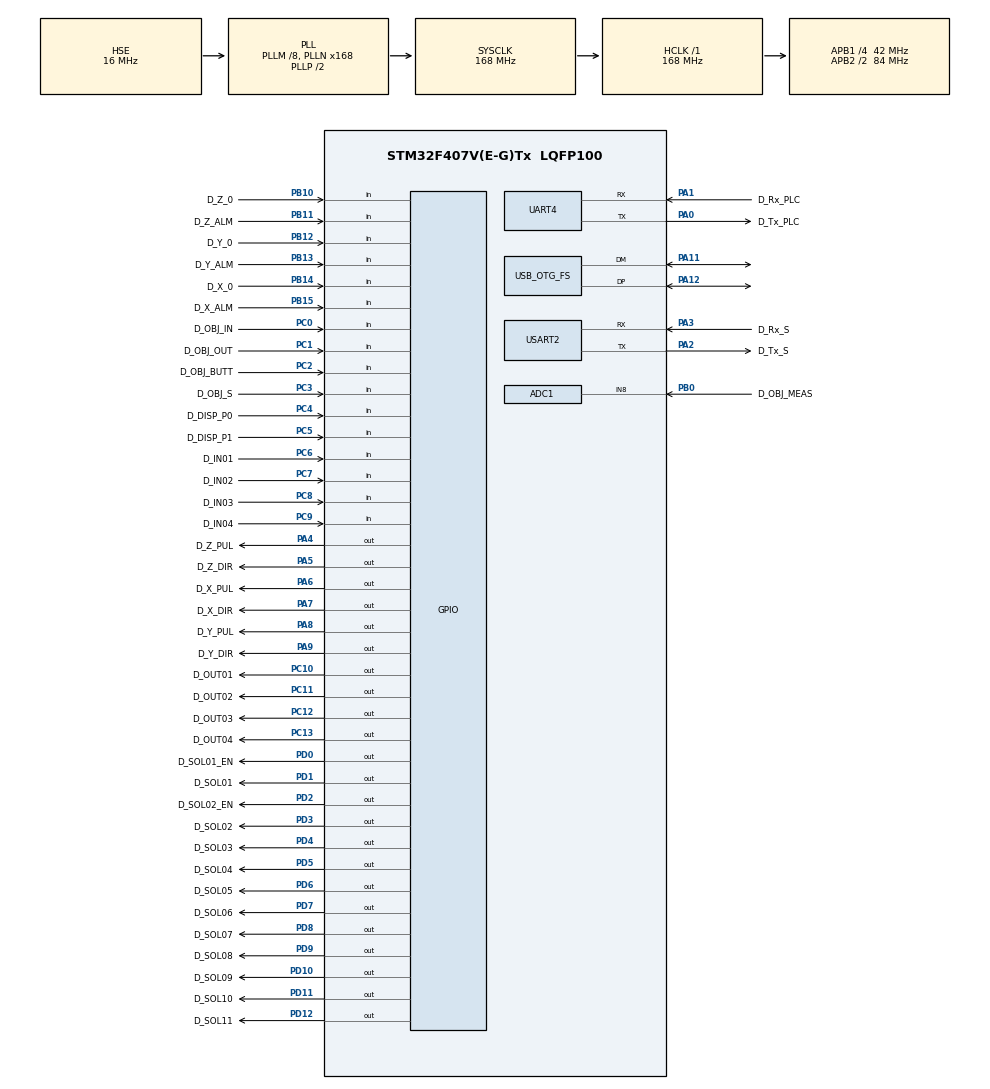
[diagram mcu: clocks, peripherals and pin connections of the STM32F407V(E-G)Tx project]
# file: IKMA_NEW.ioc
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ADC1.Channel-0\#ChannelRegularConversion=ADC_CHANNEL_8
ADC1.ClockPrescaler=ADC_CLOCK_SYNC_PCLK_DIV4
ADC1.NbrOfConversionFlag=1
ADC1.Rank-0\#ChannelRegularConversion=1
ADC1.SamplingTime-0\#ChannelRegularConversion=ADC_SAMPLETIME_3CYCLES
ADC1.master=1
Mcu.Family=STM32F4
Mcu.Name=STM32F407V(E-G)Tx
Mcu.Package=LQFP100
NVIC.OTG_FS_IRQn=true\:0\:0\:false\:false\:true\:false\:true
NVIC.PriorityGroup=NVIC_PRIORITYGROUP_4
NVIC.UART4_IRQn=true\:0\:0\:false\:false\:true\:true\:true
NVIC.USART2_IRQn=true\:0\:0\:false\:false\:true\:true\:true
PA0-WKUP.GPIO_Label=D_Tx_PLC
PA0-WKUP.Mode=Asynchronous
PA0-WKUP.Signal=UART4_TX
PA1.GPIO_Label=D_Rx_PLC
PA1.Mode=Asynchronous
PA1.Signal=UART4_RX
PA11.Mode=Device_Only
PA11.Signal=USB_OTG_FS_DM
PA12.Mode=Device_Only
PA12.Signal=USB_OTG_FS_DP
PA13.Mode=Serial_Wire
PA13.Signal=SYS_JTMS-SWDIO
PA14.Mode=Serial_Wire
PA14.Signal=SYS_JTCK-SWCLK
PA2.GPIO_Label=D_Tx_S
PA2.Mode=Asynchronous
PA2.Signal=USART2_TX
PA3.GPIO_Label=D_Rx_S
PA3.Mode=Asynchronous
PA3.Signal=USART2_RX
PA4.GPIO_Label=D_Z_PUL
PA4.Signal=GPIO_Output
PA5.GPIO_Label=D_Z_DIR
PA5.Signal=GPIO_Output
PA6.GPIO_Label=D_X_PUL
PA6.Signal=GPIO_Output
PA7.GPIO_Label=D_X_DIR
PA7.Signal=GPIO_Output
PA8.GPIO_Label=D_Y_PUL
PA8.Signal=GPIO_Output
PA9.GPIO_Label=D_Y_DIR
PA9.Signal=GPIO_Output
PB0.GPIO_Label=D_OBJ_MEAS
PB0.Signal=ADCx_IN8
PB10.GPIO_Label=D_Z_0
PB10.Signal=GPIO_Input
PB11.GPIO_Label=D_Z_ALM
PB11.Signal=GPIO_Input
PB12.GPIO_Label=D_Y_0
PB12.Signal=GPIO_Input
PB13.GPIO_Label=D_Y_ALM
PB13.Signal=GPIO_Input
PB14.GPIO_Label=D_X_0
PB14.Signal=GPIO_Input
PB15.GPIO_Label=D_X_ALM
PB15.Signal=GPIO_Input
PC0.GPIO_Label=D_OBJ_IN
PC0.Signal=GPIO_Input
PC1.GPIO_Label=D_OBJ_OUT
PC1.Signal=GPIO_Input
PC10.GPIO_Label=D_OUT01
PC10.Signal=GPIO_Output
PC11.GPIO_Label=D_OUT02
PC11.Signal=GPIO_Output
PC12.GPIO_Label=D_OUT03
PC12.Signal=GPIO_Output
PC13-ANTI_TAMP.GPIO_Label=D_OUT04
PC13-ANTI_TAMP.Signal=GPIO_Output
PC2.GPIO_Label=D_OBJ_BUTT
PC2.Signal=GPIO_Input
PC3.GPIO_Label=D_OBJ_S
PC3.Signal=GPIO_Input
PC4.GPIO_Label=D_DISP_P0
PC4.Signal=GPIO_Input
PC5.GPIO_Label=D_DISP_P1
PC5.Signal=GPIO_Input
PC6.GPIO_Label=D_IN01
PC6.Signal=GPIO_Input
PC7.GPIO_Label=D_IN02
PC7.Signal=GPIO_Input
PC8.GPIO_Label=D_IN03
PC8.Signal=GPIO_Input
PC9.GPIO_Label=D_IN04
PC9.Signal=GPIO_Input
PD0.GPIO_Label=D_SOL01_EN
PD0.Signal=GPIO_Output
PD1.GPIO_Label=D_SOL01
PD1.Signal=GPIO_Output
PD10.GPIO_Label=D_SOL09
PD10.Signal=GPIO_Output
PD11.GPIO_Label=D_SOL10
PD11.Signal=GPIO_Output
PD12.GPIO_Label=D_SOL11
PD12.Signal=GPIO_Output
PD2.GPIO_Label=D_SOL02_EN
PD2.Signal=GPIO_Output
PD3.GPIO_Label=D_SOL02
PD3.Signal=GPIO_Output
PD4.GPIO_Label=D_SOL03
PD4.Signal=GPIO_Output
PD5.GPIO_Label=D_SOL04
PD5.Signal=GPIO_Output
PD6.GPIO_Label=D_SOL05
PD6.Signal=GPIO_Output
PD7.GPIO_Label=D_SOL06
PD7.Signal=GPIO_Output
PD8.GPIO_Label=D_SOL07
PD8.Signal=GPIO_Output
PD9.GPIO_Label=D_SOL08
PD9.Signal=GPIO_Output
PH0-OSC_IN.Mode=HSE-External-Oscillator
PH0-OSC_IN.Signal=RCC_OSC_IN
PH1-OSC_OUT.Mode=HSE-External-Oscillator
PH1-OSC_OUT.Signal=RCC_OSC_OUT
ProjectManager.HeapSize=0x2000
ProjectManager.StackSize=0x4000
ProjectManager.TargetToolchain=Other Toolchains (GPDSC)
RCC.48MHZClocksFreq_Value=48000000
RCC.AHBFreq_Value=168000000
RCC.APB1CLKDivider=RCC_HCLK_DIV4
RCC.APB1Freq_Value=42000000
RCC.APB1TimFreq_Value=84000000
RCC.APB2CLKDivider=RCC_HCLK_DIV2
RCC.APB2Freq_Value=84000000
RCC.APB2TimFreq_Value=168000000
RCC.CortexFreq_Value=168000000
RCC.HCLKFreq_Value=168000000
RCC.HSE_VALUE=16000000
RCC.HSI_VALUE=16000000
RCC.LSE_VALUE=32768
RCC.PLLM=8
RCC.PLLN=168
RCC.PLLQ=7
RCC.SYSCLKFreq_VALUE=168000000
RCC.SYSCLKSource=RCC_SYSCLKSOURCE_PLLCLK
RCC.VCOOutputFreq_Value=336000000
SH.ADCx_IN8.0=ADC1_IN8,IN8
TIM12.Period=10000
TIM12.Prescaler=16800
UART4.VirtualMode=Asynchronous
USART2.VirtualMode=VM_ASYNC
USB_DEVICE.CLASS_NAME_FS=DFU
USB_DEVICE.VirtualMode-DFU_FS=Dfu
USB_DEVICE.VirtualModeFS=Dfu_FS
USB_OTG_FS.VirtualMode=Device_Only
VP_TIM12_VS_ClockSourceINT.Mode=Internal
VP_USB_DEVICE_VS_USB_DEVICE_DFU_FS.Mode=DFU_FS
board=custom

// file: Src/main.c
/* USER CODE BEGIN Header */
/**
  ******************************************************************************
  * @file           : main.c
  * @brief          : Main program body
  ******************************************************************************
  * @attention
  *
  * �������� ���������, ������ � ����� �� ��� Z �������� �����
  *
  ******************************************************************************
  */
/* USER CODE END Header */

#include "main.h"
#include "usb_device.h"

/* USER CODE BEGIN Includes */
#include <stdio.h>
#include "sensore.h"
#include "stepmotor.h"
#include "solenoids.h"
#include "commands.h"
#include <math.h>

/* USER CODE END Includes */

/* USER CODE BEGIN PD */
#define N  14
/* USER CODE END PD */

/* USER CODE BEGIN PM */
uint16_t measmeas=0;
/* USER CODE END PM */

ADC_HandleTypeDef hadc1;

TIM_HandleTypeDef htim12;

UART_HandleTypeDef huart4;
UART_HandleTypeDef huart2;

void SystemClock_Config(void);
static void MX_GPIO_Init(void);
static void MX_ADC1_Init(void);
static void MX_UART4_Init(void);
static void MX_USART2_UART_Init(void);
static void MX_TIM12_Init(void);

int main(void)
{
  /* USER CODE BEGIN 1 */
	uint8_t sens[20];
	uint8_t data_matrix[N][N] =
																{
																	{1,0,1,0,1,0,1,0,1,0,1,0,1,0},
																	{1,1,0,1,1,0,0,1,0,0,0,1,1,1},
																	{1,0,0,0,1,0,1,1,0,1,1,1,0,0},
																	{1,1,0,0,0,0,0,1,0,0,1,0,0,1},
																	{1,0,1,0,0,1,0,1,0,1,0,1,0,0},
																	{1,0,0,0,0,1,1,0,1,1,1,0,1,1},
																	{1,0,0,1,1,0,1,0,0,0,0,0,0,0},
																	{1,0,0,0,1,0,0,1,0,0,1,1,0,1},
																	{1,0,1,0,1,0,1,1,1,0,1,0,0,0},
																	{1,1,0,1,1,0,1,0,0,1,0,1,0,1},
																	{1,1,0,1,1,0,1,1,1,1,0,0,1,0},
																	{1,1,0,0,1,1,1,1,0,0,1,1,0,1},
																	{1,0,0,1,0,0,0,0,1,0,1,0,0,0},
																	{1,1,1,1,1,1,1,1,1,1,1,1,1,1}
																};
	//uint16_t move_X[255],move_Y[255],k;

  /* USER CODE END 1 */

  /* MCU Configuration--------------------------------------------------------*/

  /* Reset of all peripherals, Initializes the Flash interface and the Systick. */
  HAL_Init();

  /* Configure the system clock */
  SystemClock_Config();

  /* Initialize all configured peripherals */
  MX_GPIO_Init();
  MX_ADC1_Init();
  MX_UART4_Init();
  MX_USART2_UART_Init();
  MX_USB_DEVICE_Init();
  MX_TIM12_Init();
  /* USER CODE BEGIN 2 */
	cnt_RX=0;
	HAL_UART_Receive_IT(&huart4,cmd_RX,1);
	HAL_Delay(5000);

	/*  Настройка Systick */
	HAL_SYSTICK_Config(SystemCoreClock /1000000);
 //Расчет периодов для ускорений
	calc_Delays();

	/* Поиск нулевой точки */
	go_HOME();

	/* Расчте траектории */
	k=0;
	for (int j = 0; j<N; j++)
	{
		for(int i =0; i<N; i++)
		{
			if (data_matrix[(N-1)*(1-j%2) - i*(1-2*(j%2))][j] == 1)
			{
				move_X[k]= 480*j;
				move_Y[k]= 480*((N-1)-((N-1)*(1-j%2) - i*(1-2*(j%2))));
				k++;
			}
		}
	}
  /* USER CODE END 2 */

  /* Infinite loop */
  /* USER CODE BEGIN WHILE */

  while (1)
  {
		cmd_do();
		//

    /* USER CODE END WHILE */

  }
}

void SystemClock_Config(void)
{
  RCC_OscInitTypeDef RCC_OscInitStruct = {0};
  RCC_ClkInitTypeDef RCC_ClkInitStruct = {0};

  /** Configure the main internal regulator output voltage
  */
  __HAL_RCC_PWR_CLK_ENABLE();
  __HAL_PWR_VOLTAGESCALING_CONFIG(PWR_REGULATOR_VOLTAGE_SCALE1);
  /** Initializes the CPU, AHB and APB busses clocks
  */
  RCC_OscInitStruct.OscillatorType = RCC_OSCILLATORTYPE_HSE;
  RCC_OscInitStruct.HSEState = RCC_HSE_ON;
  RCC_OscInitStruct.PLL.PLLState = RCC_PLL_ON;
  RCC_OscInitStruct.PLL.PLLSource = RCC_PLLSOURCE_HSE;
  RCC_OscInitStruct.PLL.PLLM = 8;
  RCC_OscInitStruct.PLL.PLLN = 168;
  RCC_OscInitStruct.PLL.PLLP = RCC_PLLP_DIV2;
  RCC_OscInitStruct.PLL.PLLQ = 7;
  if (HAL_RCC_OscConfig(&RCC_OscInitStruct) != HAL_OK)
  {
    Error_Handler();
  }
  /** Initializes the CPU, AHB and APB busses clocks
  */
  RCC_ClkInitStruct.ClockType = RCC_CLOCKTYPE_HCLK|RCC_CLOCKTYPE_SYSCLK
                              |RCC_CLOCKTYPE_PCLK1|RCC_CLOCKTYPE_PCLK2;
  RCC_ClkInitStruct.SYSCLKSource = RCC_SYSCLKSOURCE_PLLCLK;
  RCC_ClkInitStruct.AHBCLKDivider = RCC_SYSCLK_DIV1;
  RCC_ClkInitStruct.APB1CLKDivider = RCC_HCLK_DIV4;
  RCC_ClkInitStruct.APB2CLKDivider = RCC_HCLK_DIV2;

  if (HAL_RCC_ClockConfig(&RCC_ClkInitStruct, FLASH_LATENCY_5) != HAL_OK)
  {
    Error_Handler();
  }
}

static void MX_ADC1_Init(void)
{

  ADC_ChannelConfTypeDef sConfig = {0};

  /** Configure the global features of the ADC (Clock, Resolution, Data Alignment and number of conversion)
  */
  hadc1.Instance = ADC1;
  hadc1.Init.ClockPrescaler = ADC_CLOCK_SYNC_PCLK_DIV4;
  hadc1.Init.Resolution = ADC_RESOLUTION_12B;
  hadc1.Init.ScanConvMode = DISABLE;
  hadc1.Init.ContinuousConvMode = DISABLE;
  hadc1.Init.DiscontinuousConvMode = DISABLE;
  hadc1.Init.ExternalTrigConvEdge = ADC_EXTERNALTRIGCONVEDGE_NONE;
  hadc1.Init.ExternalTrigConv = ADC_SOFTWARE_START;
  hadc1.Init.DataAlign = ADC_DATAALIGN_RIGHT;
  hadc1.Init.NbrOfConversion = 1;
  hadc1.Init.DMAContinuousRequests = DISABLE;
  hadc1.Init.EOCSelection = ADC_EOC_SINGLE_CONV;
  if (HAL_ADC_Init(&hadc1) != HAL_OK)
  {
    Error_Handler();
  }
  /** Configure for the selected ADC regular channel its corresponding rank in the sequencer and its sample time.
  */
  sConfig.Channel = ADC_CHANNEL_8;
  sConfig.Rank = 1;
  sConfig.SamplingTime = ADC_SAMPLETIME_3CYCLES;
  if (HAL_ADC_ConfigChannel(&hadc1, &sConfig) != HAL_OK)
  {
    Error_Handler();
  }

}

static void MX_TIM12_Init(void)
{

  TIM_ClockConfigTypeDef sClockSourceConfig = {0};

  htim12.Instance = TIM12;
  htim12.Init.Prescaler = 16800;
  htim12.Init.CounterMode = TIM_COUNTERMODE_UP;
  htim12.Init.Period = 10000;
  htim12.Init.ClockDivision = TIM_CLOCKDIVISION_DIV1;
  htim12.Init.AutoReloadPreload = TIM_AUTORELOAD_PRELOAD_DISABLE;
  if (HAL_TIM_Base_Init(&htim12) != HAL_OK)
  {
    Error_Handler();
  }
  sClockSourceConfig.ClockSource = TIM_CLOCKSOURCE_INTERNAL;
  if (HAL_TIM_ConfigClockSource(&htim12, &sClockSourceConfig) != HAL_OK)
  {
    Error_Handler();
  }

}

static void MX_UART4_Init(void)
{

  huart4.Instance = UART4;
  huart4.Init.BaudRate = 115200;
  huart4.Init.WordLength = UART_WORDLENGTH_8B;
  huart4.Init.StopBits = UART_STOPBITS_1;
  huart4.Init.Parity = UART_PARITY_NONE;
  huart4.Init.Mode = UART_MODE_TX_RX;
  huart4.Init.HwFlowCtl = UART_HWCONTROL_NONE;
  huart4.Init.OverSampling = UART_OVERSAMPLING_16;
  if (HAL_UART_Init(&huart4) != HAL_OK)
  {
    Error_Handler();
  }

}

static void MX_USART2_UART_Init(void)
{

  huart2.Instance = USART2;
  huart2.Init.BaudRate = 115200;
  huart2.Init.WordLength = UART_WORDLENGTH_8B;
  huart2.Init.StopBits = UART_STOPBITS_1;
  huart2.Init.Parity = UART_PARITY_NONE;
  huart2.Init.Mode = UART_MODE_TX_RX;
  huart2.Init.HwFlowCtl = UART_HWCONTROL_NONE;
  huart2.Init.OverSampling = UART_OVERSAMPLING_16;
  if (HAL_UART_Init(&huart2) != HAL_OK)
  {
    Error_Handler();
  }

}

static void MX_GPIO_Init(void)
{
  GPIO_InitTypeDef GPIO_InitStruct = {0};

  /* GPIO Ports Clock Enable */
  __HAL_RCC_GPIOC_CLK_ENABLE();
  __HAL_RCC_GPIOH_CLK_ENABLE();
  __HAL_RCC_GPIOA_CLK_ENABLE();
  __HAL_RCC_GPIOB_CLK_ENABLE();
  __HAL_RCC_GPIOD_CLK_ENABLE();

  /*Configure GPIO pin Output Level */
  HAL_GPIO_WritePin(GPIOC, D_OUT04_Pin|D_OUT01_Pin|D_OUT02_Pin|D_OUT03_Pin, GPIO_PIN_RESET);

  /*Configure GPIO pin Output Level */
  HAL_GPIO_WritePin(GPIOA, D_Z_PUL_Pin|D_Z_DIR_Pin|D_X_PUL_Pin|D_X_DIR_Pin
                          |D_Y_PUL_Pin|D_Y_DIR_Pin, GPIO_PIN_RESET);

  /*Configure GPIO pin Output Level */
  HAL_GPIO_WritePin(GPIOD, D_SOL07_Pin|D_SOL08_Pin|D_SOL09_Pin|D_SOL10_Pin
                          |D_SOL11_Pin|D_SOL01_EN_Pin|D_SOL01_Pin|D_SOL02_EN_Pin
                          |D_SOL02_Pin|D_SOL03_Pin|D_SOL04_Pin|D_SOL05_Pin
                          |D_SOL06_Pin, GPIO_PIN_RESET);

  /*Configure GPIO pins : D_OUT04_Pin D_OUT01_Pin D_OUT02_Pin D_OUT03_Pin */
  GPIO_InitStruct.Pin = D_OUT04_Pin|D_OUT01_Pin|D_OUT02_Pin|D_OUT03_Pin;
  GPIO_InitStruct.Mode = GPIO_MODE_OUTPUT_PP;
  GPIO_InitStruct.Pull = GPIO_NOPULL;
  GPIO_InitStruct.Speed = GPIO_SPEED_FREQ_LOW;
  HAL_GPIO_Init(GPIOC, &GPIO_InitStruct);

  /*Configure GPIO pins : D_OBJ_IN_Pin D_OBJ_OUT_Pin D_OBJ_BUTT_Pin D_OBJ_S_Pin
                           D_DISP_P0_Pin D_DISP_P1_Pin D_IN01_Pin D_IN02_Pin
                           D_IN03_Pin D_IN04_Pin */
  GPIO_InitStruct.Pin = D_OBJ_IN_Pin|D_OBJ_OUT_Pin|D_OBJ_BUTT_Pin|D_OBJ_S_Pin
                          |D_DISP_P0_Pin|D_DISP_P1_Pin|D_IN01_Pin|D_IN02_Pin
                          |D_IN03_Pin|D_IN04_Pin;
  GPIO_InitStruct.Mode = GPIO_MODE_INPUT;
  GPIO_InitStruct.Pull = GPIO_NOPULL;
  HAL_GPIO_Init(GPIOC, &GPIO_InitStruct);

  /*Configure GPIO pins : D_Z_PUL_Pin D_Z_DIR_Pin D_X_PUL_Pin D_X_DIR_Pin
                           D_Y_PUL_Pin D_Y_DIR_Pin */
  GPIO_InitStruct.Pin = D_Z_PUL_Pin|D_Z_DIR_Pin|D_X_PUL_Pin|D_X_DIR_Pin
                          |D_Y_PUL_Pin|D_Y_DIR_Pin;
  GPIO_InitStruct.Mode = GPIO_MODE_OUTPUT_PP;
  GPIO_InitStruct.Pull = GPIO_NOPULL;
  GPIO_InitStruct.Speed = GPIO_SPEED_FREQ_LOW;
  HAL_GPIO_Init(GPIOA, &GPIO_InitStruct);

  /*Configure GPIO pins : D_Z_0_Pin D_Z_ALM_Pin D_Y_0_Pin D_Y_ALM_Pin
                           D_X_0_Pin D_X_ALM_Pin */
  GPIO_InitStruct.Pin = D_Z_0_Pin|D_Z_ALM_Pin|D_Y_0_Pin|D_Y_ALM_Pin
                          |D_X_0_Pin|D_X_ALM_Pin;
  GPIO_InitStruct.Mode = GPIO_MODE_INPUT;
  GPIO_InitStruct.Pull = GPIO_NOPULL;
  HAL_GPIO_Init(GPIOB, &GPIO_InitStruct);

  /*Configure GPIO pins : D_SOL07_Pin D_SOL08_Pin D_SOL09_Pin D_SOL10_Pin
                           D_SOL11_Pin D_SOL01_EN_Pin D_SOL01_Pin D_SOL02_EN_Pin
                           D_SOL02_Pin D_SOL03_Pin D_SOL04_Pin D_SOL05_Pin
                           D_SOL06_Pin */
  GPIO_InitStruct.Pin = D_SOL07_Pin|D_SOL08_Pin|D_SOL09_Pin|D_SOL10_Pin
                          |D_SOL11_Pin|D_SOL01_EN_Pin|D_SOL01_Pin|D_SOL02_EN_Pin
                          |D_SOL02_Pin|D_SOL03_Pin|D_SOL04_Pin|D_SOL05_Pin
                          |D_SOL06_Pin;
  GPIO_InitStruct.Mode = GPIO_MODE_OUTPUT_PP;
  GPIO_InitStruct.Pull = GPIO_NOPULL;
  GPIO_InitStruct.Speed = GPIO_SPEED_FREQ_LOW;
  HAL_GPIO_Init(GPIOD, &GPIO_InitStruct);

}

void Error_Handler(void)
{
}

/************************ (C) COPYRIGHT STMicroelectronics *****END OF FILE****/
